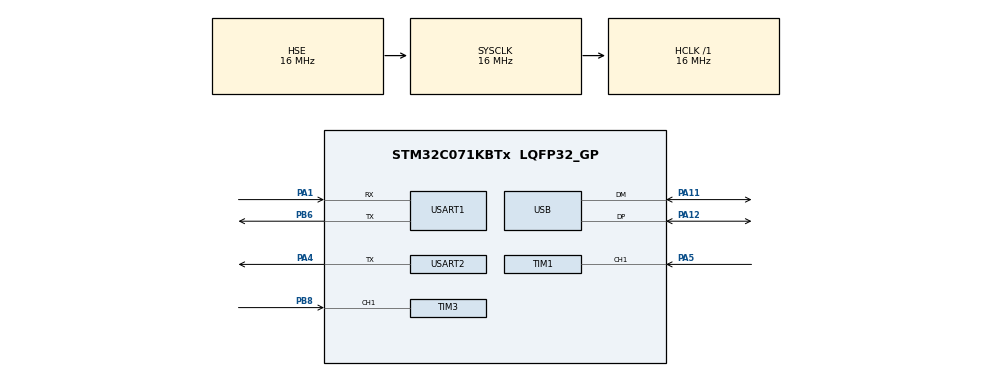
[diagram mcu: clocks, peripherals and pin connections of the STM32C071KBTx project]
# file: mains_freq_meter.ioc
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Mcu.Family=STM32C0
Mcu.Name=STM32C071KBTx
Mcu.Package=LQFP32_GP
NVIC.TIM1_CC_IRQn=true\:0\:0\:false\:false\:true\:true\:true\:true
NVIC.TIM3_IRQn=true\:0\:0\:false\:false\:true\:true\:true\:true
NVIC.USB_DRD_FS_IRQn=true\:0\:0\:false\:false\:true\:true\:true\:true
PA1.Mode=Asynchronous
PA1.Signal=USART1_RX
PA11\ [PA9].Mode=Device
PA11\ [PA9].Signal=USB_DM
PA12\ [PA10].Mode=Device
PA12\ [PA10].Signal=USB_DP
PA4.Mode=Half_duplex(single_wire_mode)
PA4.Signal=USART2_TX
PA5.Signal=S_TIM1_CH1
PB6.Mode=Asynchronous
PB6.Signal=USART1_TX
PB8.Signal=S_TIM3_CH1
PC14-OSCX_IN(PC14).Mode=HSE-External-Oscillator
PC14-OSCX_IN(PC14).Signal=RCC_OSCX_IN
PC15-OSCX_OUT(PC15).Mode=HSE-External-Oscillator
PC15-OSCX_OUT(PC15).Signal=RCC_OSCX_OUT
ProjectManager.HeapSize=0x200
ProjectManager.StackSize=0x400
ProjectManager.TargetToolchain=STM32CubeIDE
RCC.ADCFreq_Value=16000000
RCC.AHBFreq_Value=16000000
RCC.CortexFreq_Value=16000000
RCC.EXTERNAL_CLOCK_VALUE=12288000
RCC.HCLKFreq_Value=16000000
RCC.HSE_VALUE=16000000
RCC.HSI48_VALUE=48000000
RCC.HSIKERCLKDivider=RCC_HSIKER_DIV1
RCC.HSISYSCLKDivider=RCC_HSI_DIV1
RCC.HSI_VALUE=48000000
RCC.LSE_VALUE=32768
RCC.SYSCLKFreq_VALUE=16000000
RCC.SYSCLKSource=RCC_SYSCLKSOURCE_HSE
SH.S_TIM1_CH1.0=TIM1_CH1,PWM_Input_1
SH.S_TIM3_CH1.0=TIM3_CH1,PWM_Input_1
TIM1.Prescaler=767
TIM3.ICFilter_1=15
TIM3.ICFilter_2=15
TIM3.Prescaler=5
USART1.VirtualMode-Asynchronous=VM_ASYNC
USART2.BaudRate=9600
USART2.Mode=MODE_TX
USART2.VirtualMode-Half_duplex(single_wire_mode)=VM_ASYNC
USB.VirtualMode=Device_Only
VP_TIM1_VS_ClockSourceINT.Mode=Internal
VP_TIM3_VS_ClockSourceINT.Mode=Internal
board=custom

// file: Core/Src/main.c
/* USER CODE BEGIN Header */
/**
  ******************************************************************************
  * @file           : main.c
  * @brief          : Main program body
  ******************************************************************************
  * @attention
  *
  * Copyright (c) 2026 STMicroelectronics.
  * All rights reserved.
  *
  * This software is licensed under terms that can be found in the LICENSE file
  * in the root directory of this software component.
  * If no LICENSE file comes with this software, it is provided AS-IS.
  *
  ******************************************************************************
  */
/* USER CODE END Header */
#include "main.h"

/* USER CODE BEGIN Includes */
#include "tusb.h"
/* USER CODE END Includes */

/* USER CODE BEGIN PD */
#define F_CLK  16000000UL

#define NUM_CYCLES 10
/* USER CODE END PD */

TIM_HandleTypeDef htim1;
TIM_HandleTypeDef htim3;

UART_HandleTypeDef huart1;
UART_HandleTypeDef huart2;

PCD_HandleTypeDef hpcd_USB_DRD_FS;

/* USER CODE BEGIN PV */
volatile double Frequencies[NUM_CYCLES]; // Array for frequencies
volatile double Duties[NUM_CYCLES]; // Array for duty cycles (currently not really used)
volatile int mesIndex = 0; // Number of measurements completed this cycle
volatile double pps = 0; // GPS PPS measured period
volatile double cal_factor = 1.0f; // Correction to apply to measurement

static double ema_freq = 50.0f; // Seed with expected frequency
double alpha = 0.1f; // Smoothing factor (0.0 to 1.0)
/* USER CODE END PV */

void SystemClock_Config(void);
static void MX_GPIO_Init(void);
static void MX_TIM3_Init(void);
static void MX_USB_PCD_Init(void);
static void MX_USART1_UART_Init(void);
static void MX_TIM1_Init(void);
static void MX_USART2_UART_Init(void);

int main(void)
{

  /* MCU Configuration--------------------------------------------------------*/

  /* Reset of all peripherals, Initializes the Flash interface and the Systick. */
  HAL_Init();

  /* Configure the system clock */
  SystemClock_Config();

  /* Initialize all configured peripherals */
  MX_GPIO_Init();
  MX_TIM3_Init();
  MX_USB_PCD_Init();
  MX_USART1_UART_Init();
  MX_TIM1_Init();
  MX_USART2_UART_Init();
  /* USER CODE BEGIN 2 */
  // Init USB CDC
  tusb_rhport_init_t dev_init = {
		.role = TUSB_ROLE_DEVICE,
		.speed = TUSB_SPEED_FULL
  };
  tusb_init(0, &dev_init);

  // Init Timers
  HAL_TIM_IC_Start_IT(&htim1, TIM_CHANNEL_1);
  HAL_TIM_IC_Start_IT(&htim1, TIM_CHANNEL_2);

  HAL_TIM_IC_Start_IT(&htim3, TIM_CHANNEL_1);
  HAL_TIM_IC_Start_IT(&htim3, TIM_CHANNEL_2);

  double Frequency = 0;
  /* USER CODE END 2 */

  /* Infinite loop */
  while (1)
  {

    /* USER CODE BEGIN 3 */
	  tud_task(); // TinyUSB task, must be run every so often

	  if (mesIndex >= NUM_CYCLES) {
		  // Copy arrays in case ISR fires again
		  float sorted_freq[NUM_CYCLES];
		  float sorted_duty[NUM_CYCLES];
		  for (int i = 0; i < NUM_CYCLES; i++) {
			  sorted_freq[i] = Frequencies[i];
			  sorted_duty[i] = Duties[i];
		  }

		  // Bubble sort frequencies
		  for (int i = 0; i < NUM_CYCLES - 1; i++) {
			  for (int j = 0; j < NUM_CYCLES - i - 1; j++) {
				  if (sorted_freq[j] > sorted_freq[j + 1]) {
					  float tmp = sorted_freq[j];
					  sorted_freq[j] = sorted_freq[j + 1];
					  sorted_freq[j + 1] = tmp;
				  }
				  // Sort duty in lockstep so median index stays aligned
				  if (sorted_duty[j] > sorted_duty[j + 1]) {
					  float tmp = sorted_duty[j];
					  sorted_duty[j] = sorted_duty[j + 1];
					  sorted_duty[j + 1] = tmp;
				  }
			  }
		  }

		  // Median values
		  float current_median_freq = sorted_freq[NUM_CYCLES / 2];
		  float current_median_duty = sorted_duty[NUM_CYCLES / 2];

		  // EMA filter
		  ema_freq = (alpha * current_median_freq) + ((1.0f - alpha) * ema_freq);

		  // Apply timing calibration
		  Frequency = ema_freq * cal_factor;

		  mesIndex = 0; // Reset for next batch

		  // Build JSON:
		  // {"freqs":[f0,f1,...,fN],"filtered":F,"duty":D}
		  char buf[512];
		  int pos = 0;

		  // Create freq measurement array
		  pos += snprintf(buf + pos, sizeof(buf) - pos, "{\"freqs\":[");
		  for (int i = 0; i < NUM_CYCLES; i++) {
			  pos += snprintf(buf + pos, sizeof(buf) - pos, "%.6f%s", (double)Frequencies[i], (i < NUM_CYCLES - 1) ? "," : "");
		  }
		  // Append calculated info
		  pos += snprintf(buf + pos, sizeof(buf) - pos, "],\"filtered\":%.10f,\"duty\":%.4f}\r\n", Frequency, (double)current_median_duty);

		  // Send over USB CDC
		  if (tud_cdc_connected()) {
		      uint32_t bytes_written = 0;
		      uint32_t total = (uint32_t)pos;
		      while (bytes_written < total) {
		          bytes_written += tud_cdc_write(buf + bytes_written, total - bytes_written);
		          tud_task(); // Keep TinyUSB running while waiting for buffer space
		      }
		      tud_cdc_write_flush();
		  }

		  // Send over UART1
		  HAL_UART_Transmit(&huart1, (uint8_t *)buf, pos, HAL_MAX_DELAY);
	  }
  }
  /* USER CODE END 3 */
}

void SystemClock_Config(void)
{
  RCC_OscInitTypeDef RCC_OscInitStruct = {0};
  RCC_ClkInitTypeDef RCC_ClkInitStruct = {0};

  __HAL_FLASH_SET_LATENCY(FLASH_LATENCY_0);

  /** Initializes the RCC Oscillators according to the specified parameters
  * in the RCC_OscInitTypeDef structure.
  */
  RCC_OscInitStruct.OscillatorType = RCC_OSCILLATORTYPE_HSE|RCC_OSCILLATORTYPE_HSI48;
  RCC_OscInitStruct.HSEState = RCC_HSE_ON;
  RCC_OscInitStruct.HSI48State = RCC_HSI48_ON;

  if (HAL_RCC_OscConfig(&RCC_OscInitStruct) != HAL_OK)
  {
    Error_Handler();
  }

  /** Initializes the CPU, AHB and APB buses clocks
  */
  RCC_ClkInitStruct.ClockType = RCC_CLOCKTYPE_HCLK|RCC_CLOCKTYPE_SYSCLK
                              |RCC_CLOCKTYPE_PCLK1;
  RCC_ClkInitStruct.SYSCLKSource = RCC_SYSCLKSOURCE_HSE;
  RCC_ClkInitStruct.SYSCLKDivider = RCC_SYSCLK_DIV1;
  RCC_ClkInitStruct.AHBCLKDivider = RCC_HCLK_DIV1;
  RCC_ClkInitStruct.APB1CLKDivider = RCC_APB1_DIV1;

  if (HAL_RCC_ClockConfig(&RCC_ClkInitStruct, FLASH_LATENCY_0) != HAL_OK)
  {
    Error_Handler();
  }
}

static void MX_TIM1_Init(void)
{

  TIM_ClockConfigTypeDef sClockSourceConfig = {0};
  TIM_SlaveConfigTypeDef sSlaveConfig = {0};
  TIM_IC_InitTypeDef sConfigIC = {0};
  TIM_MasterConfigTypeDef sMasterConfig = {0};

  htim1.Instance = TIM1;
  htim1.Init.Prescaler = 767;
  htim1.Init.CounterMode = TIM_COUNTERMODE_UP;
  htim1.Init.Period = 65535;
  htim1.Init.ClockDivision = TIM_CLOCKDIVISION_DIV1;
  htim1.Init.RepetitionCounter = 0;
  htim1.Init.AutoReloadPreload = TIM_AUTORELOAD_PRELOAD_DISABLE;
  if (HAL_TIM_Base_Init(&htim1) != HAL_OK)
  {
    Error_Handler();
  }
  sClockSourceConfig.ClockSource = TIM_CLOCKSOURCE_INTERNAL;
  if (HAL_TIM_ConfigClockSource(&htim1, &sClockSourceConfig) != HAL_OK)
  {
    Error_Handler();
  }
  if (HAL_TIM_IC_Init(&htim1) != HAL_OK)
  {
    Error_Handler();
  }
  sSlaveConfig.SlaveMode = TIM_SLAVEMODE_RESET;
  sSlaveConfig.InputTrigger = TIM_TS_TI1FP1;
  sSlaveConfig.TriggerPolarity = TIM_INPUTCHANNELPOLARITY_RISING;
  sSlaveConfig.TriggerPrescaler = TIM_ICPSC_DIV1;
  sSlaveConfig.TriggerFilter = 0;
  if (HAL_TIM_SlaveConfigSynchro(&htim1, &sSlaveConfig) != HAL_OK)
  {
    Error_Handler();
  }
  sConfigIC.ICPolarity = TIM_INPUTCHANNELPOLARITY_RISING;
  sConfigIC.ICSelection = TIM_ICSELECTION_DIRECTTI;
  sConfigIC.ICPrescaler = TIM_ICPSC_DIV1;
  sConfigIC.ICFilter = 0;
  if (HAL_TIM_IC_ConfigChannel(&htim1, &sConfigIC, TIM_CHANNEL_1) != HAL_OK)
  {
    Error_Handler();
  }
  sConfigIC.ICPolarity = TIM_INPUTCHANNELPOLARITY_FALLING;
  sConfigIC.ICSelection = TIM_ICSELECTION_INDIRECTTI;
  if (HAL_TIM_IC_ConfigChannel(&htim1, &sConfigIC, TIM_CHANNEL_2) != HAL_OK)
  {
    Error_Handler();
  }
  sMasterConfig.MasterOutputTrigger = TIM_TRGO_RESET;
  sMasterConfig.MasterOutputTrigger2 = TIM_TRGO2_RESET;
  sMasterConfig.MasterSlaveMode = TIM_MASTERSLAVEMODE_DISABLE;
  if (HAL_TIMEx_MasterConfigSynchronization(&htim1, &sMasterConfig) != HAL_OK)
  {
    Error_Handler();
  }

}

static void MX_TIM3_Init(void)
{

  TIM_ClockConfigTypeDef sClockSourceConfig = {0};
  TIM_SlaveConfigTypeDef sSlaveConfig = {0};
  TIM_IC_InitTypeDef sConfigIC = {0};
  TIM_MasterConfigTypeDef sMasterConfig = {0};

  htim3.Instance = TIM3;
  htim3.Init.Prescaler = 5;
  htim3.Init.CounterMode = TIM_COUNTERMODE_UP;
  htim3.Init.Period = 65535;
  htim3.Init.ClockDivision = TIM_CLOCKDIVISION_DIV1;
  htim3.Init.AutoReloadPreload = TIM_AUTORELOAD_PRELOAD_DISABLE;
  if (HAL_TIM_Base_Init(&htim3) != HAL_OK)
  {
    Error_Handler();
  }
  sClockSourceConfig.ClockSource = TIM_CLOCKSOURCE_INTERNAL;
  if (HAL_TIM_ConfigClockSource(&htim3, &sClockSourceConfig) != HAL_OK)
  {
    Error_Handler();
  }
  if (HAL_TIM_IC_Init(&htim3) != HAL_OK)
  {
    Error_Handler();
  }
  sSlaveConfig.SlaveMode = TIM_SLAVEMODE_RESET;
  sSlaveConfig.InputTrigger = TIM_TS_TI1FP1;
  sSlaveConfig.TriggerPolarity = TIM_INPUTCHANNELPOLARITY_RISING;
  sSlaveConfig.TriggerPrescaler = TIM_ICPSC_DIV1;
  sSlaveConfig.TriggerFilter = 15;
  if (HAL_TIM_SlaveConfigSynchro(&htim3, &sSlaveConfig) != HAL_OK)
  {
    Error_Handler();
  }
  sConfigIC.ICPolarity = TIM_INPUTCHANNELPOLARITY_RISING;
  sConfigIC.ICSelection = TIM_ICSELECTION_DIRECTTI;
  sConfigIC.ICPrescaler = TIM_ICPSC_DIV1;
  sConfigIC.ICFilter = 15;
  if (HAL_TIM_IC_ConfigChannel(&htim3, &sConfigIC, TIM_CHANNEL_1) != HAL_OK)
  {
    Error_Handler();
  }
  sConfigIC.ICPolarity = TIM_INPUTCHANNELPOLARITY_FALLING;
  sConfigIC.ICSelection = TIM_ICSELECTION_INDIRECTTI;
  if (HAL_TIM_IC_ConfigChannel(&htim3, &sConfigIC, TIM_CHANNEL_2) != HAL_OK)
  {
    Error_Handler();
  }
  sMasterConfig.MasterOutputTrigger = TIM_TRGO_RESET;
  sMasterConfig.MasterSlaveMode = TIM_MASTERSLAVEMODE_DISABLE;
  if (HAL_TIMEx_MasterConfigSynchronization(&htim3, &sMasterConfig) != HAL_OK)
  {
    Error_Handler();
  }

}

static void MX_USART1_UART_Init(void)
{

  huart1.Instance = USART1;
  huart1.Init.BaudRate = 115200;
  huart1.Init.WordLength = UART_WORDLENGTH_8B;
  huart1.Init.StopBits = UART_STOPBITS_1;
  huart1.Init.Parity = UART_PARITY_NONE;
  huart1.Init.Mode = UART_MODE_TX_RX;
  huart1.Init.HwFlowCtl = UART_HWCONTROL_NONE;
  huart1.Init.OverSampling = UART_OVERSAMPLING_16;
  huart1.Init.OneBitSampling = UART_ONE_BIT_SAMPLE_DISABLE;
  huart1.Init.ClockPrescaler = UART_PRESCALER_DIV1;
  huart1.AdvancedInit.AdvFeatureInit = UART_ADVFEATURE_NO_INIT;
  if (HAL_UART_Init(&huart1) != HAL_OK)
  {
    Error_Handler();
  }
  if (HAL_UARTEx_SetTxFifoThreshold(&huart1, UART_TXFIFO_THRESHOLD_1_8) != HAL_OK)
  {
    Error_Handler();
  }
  if (HAL_UARTEx_SetRxFifoThreshold(&huart1, UART_RXFIFO_THRESHOLD_1_8) != HAL_OK)
  {
    Error_Handler();
  }
  if (HAL_UARTEx_DisableFifoMode(&huart1) != HAL_OK)
  {
    Error_Handler();
  }

}

static void MX_USART2_UART_Init(void)
{

  huart2.Instance = USART2;
  huart2.Init.BaudRate = 9600;
  huart2.Init.WordLength = UART_WORDLENGTH_8B;
  huart2.Init.StopBits = UART_STOPBITS_1;
  huart2.Init.Parity = UART_PARITY_NONE;
  huart2.Init.Mode = UART_MODE_TX;
  huart2.Init.HwFlowCtl = UART_HWCONTROL_NONE;
  huart2.Init.OverSampling = UART_OVERSAMPLING_16;
  huart2.Init.OneBitSampling = UART_ONE_BIT_SAMPLE_DISABLE;
  huart2.Init.ClockPrescaler = UART_PRESCALER_DIV1;
  huart2.AdvancedInit.AdvFeatureInit = UART_ADVFEATURE_NO_INIT;
  if (HAL_HalfDuplex_Init(&huart2) != HAL_OK)
  {
    Error_Handler();
  }
  if (HAL_UARTEx_SetTxFifoThreshold(&huart2, UART_TXFIFO_THRESHOLD_1_8) != HAL_OK)
  {
    Error_Handler();
  }
  if (HAL_UARTEx_SetRxFifoThreshold(&huart2, UART_RXFIFO_THRESHOLD_1_8) != HAL_OK)
  {
    Error_Handler();
  }
  if (HAL_UARTEx_DisableFifoMode(&huart2) != HAL_OK)
  {
    Error_Handler();
  }

}

static void MX_USB_PCD_Init(void)
{

  hpcd_USB_DRD_FS.Instance = USB_DRD_FS;
  hpcd_USB_DRD_FS.Init.dev_endpoints = 8;
  hpcd_USB_DRD_FS.Init.speed = USBD_FS_SPEED;
  hpcd_USB_DRD_FS.Init.phy_itface = PCD_PHY_EMBEDDED;
  hpcd_USB_DRD_FS.Init.Sof_enable = DISABLE;
  hpcd_USB_DRD_FS.Init.low_power_enable = DISABLE;
  hpcd_USB_DRD_FS.Init.lpm_enable = DISABLE;
  hpcd_USB_DRD_FS.Init.battery_charging_enable = DISABLE;
  hpcd_USB_DRD_FS.Init.vbus_sensing_enable = DISABLE;
  hpcd_USB_DRD_FS.Init.bulk_doublebuffer_enable = DISABLE;
  hpcd_USB_DRD_FS.Init.iso_singlebuffer_enable = DISABLE;
  if (HAL_PCD_Init(&hpcd_USB_DRD_FS) != HAL_OK)
  {
    Error_Handler();
  }

}

static void MX_GPIO_Init(void)
{

  /* GPIO Ports Clock Enable */
  __HAL_RCC_GPIOC_CLK_ENABLE();
  __HAL_RCC_GPIOA_CLK_ENABLE();
  __HAL_RCC_GPIOB_CLK_ENABLE();

}

/* USER CODE BEGIN 4 */
void HAL_TIM_IC_CaptureCallback(TIM_HandleTypeDef *htim) {
	if (htim->Instance == TIM1) { // PPS timer
		if (htim->Channel == HAL_TIM_ACTIVE_CHANNEL_2) {
			uint32_t period = HAL_TIM_ReadCapturedValue(htim, TIM_CHANNEL_1);
			// uint32_t pulse  = HAL_TIM_ReadCapturedValue(htim, TIM_CHANNEL_2);

			// Check if period has valid number
			if (period > 0) {
				pps = (F_CLK / 768.0f) / period; // 768f is timer prescaler + 1

				cal_factor = 1.0f / pps; // Calculate calibration factor. 1.0f is the frequency the PPS output is set to. Default is 1 Hz.
			}
		}
	}

    if (htim->Instance == TIM3) { // Net mains timer
        if (htim->Channel == HAL_TIM_ACTIVE_CHANNEL_2) {
            // Falling edge: CH1 (period) and CH2 (pulse) are both valid for this cycle
            uint32_t period = HAL_TIM_ReadCapturedValue(htim, TIM_CHANNEL_1);
            uint32_t pulse  = HAL_TIM_ReadCapturedValue(htim, TIM_CHANNEL_2);

            // Check if period has valid number and not already max number of cycles in buffer
            if (period > 0 && mesIndex < NUM_CYCLES) {
            	// Write measurement to buffer
                Duties[mesIndex]      = (pulse * 100.0f) / period;
                Frequencies[mesIndex] = (F_CLK / 6.0f) / period; // 6.0f is timer prescaler + 1

                mesIndex++; // Increment measuring index
            }
        }
    }
}
/* USER CODE END 4 */

void Error_Handler(void)
{
  __disable_irq();
  while (1)
  {
  }
}
